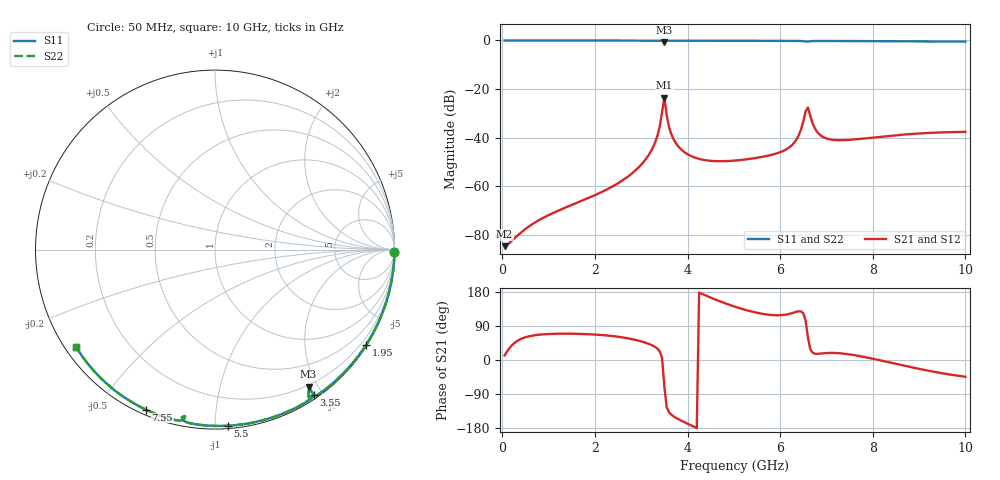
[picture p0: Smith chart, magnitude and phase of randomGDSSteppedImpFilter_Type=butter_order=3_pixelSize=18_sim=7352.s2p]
! freq	dB(S11)	phase(S11)	dB(S12)	phase(S12)
!  dB(S21)	phase(S21)	dB(S22)	phase(S22)
!S-par simulation data
#  GHz  S  DB  R 50
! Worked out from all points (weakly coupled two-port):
!   200 points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, 50 MHz to 10 GHz, reference 50 ohm
!   highest |S21| = -23.44 dB at 3.5 GHz (marker M1); lowest = -84.5 dB at 50 MHz (marker M2)
!   lowest |S11| = -0.7 dB at 3.5 GHz (marker M3), VSWR 25.71, Z = 8.87 - j94 ohm
!   |S11| at or under -10 dB: nowhere
!   |S22| runs from -0.7 to 0.0 dB; largest |S21 - S12| = 0
!   S11 on the Smith chart (normalised r, x): 50 MHz: open; 1.95 GHz: 0.03, -3.46; 3.55 GHz: 0.05, -1.89; 5.5 GHz: 0.02, -1.07; 7.55 GHz: 0.02, -0.66; 10 GHz: 0.03, -0.32
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0.05  -0.00 -0.8  -84.53 12.1  -84.53 12.1  -0.00 -0.8
0.35  -0.00 -5.9  -79.82 52.3  -79.82 52.3  -0.00 -5.9
1.75  -0.04 -29.0  -65.62 68.6  -65.62 68.6  -0.04 -29.0
1.95  -0.04 -32.3  -63.99 67.5  -63.99 67.5  -0.04 -32.3
2.95  -0.06 -48.3  -52.05 50.8  -52.05 50.8  -0.06 -48.3
3.25  -0.07 -53.2  -44.06 37.9  -44.06 37.9  -0.07 -53.2
3.4  -0.11 -56.1  -35.41 23.0  -35.41 23.0  -0.11 -56.1
3.5  -0.68 -55.7  -23.44 -70.4  -23.44 -70.4  -0.67 -55.7
3.55  -0.18 -55.9  -30.79 -124.7  -30.79 -124.7  -0.18 -55.9
3.7  -0.09 -59.2  -40.64 -148.8  -40.64 -148.8  -0.09 -59.2
3.95  -0.09 -63.2  -46.14 -165.2  -46.14 -165.2  -0.09 -63.2
4.4  -0.10 -70.0  -49.25 169.8  -49.25 169.8  -0.10 -70.0
5.05  -0.12 -79.5  -49.31 139.6  -49.31 139.6  -0.12 -79.5
5.5  -0.14 -85.9  -48.21 124.7  -48.21 124.7  -0.14 -85.9
6.25  -0.18 -96.5  -43.11 123.4  -43.11 123.4  -0.18 -96.5
6.4  -0.21 -98.8  -39.02 128.6  -39.02 128.6  -0.21 -98.8
6.6  -0.51 -100.2  -27.54 59.1  -27.54 59.1  -0.51 -100.2
6.7  -0.25 -101.4  -34.01 19.4  -34.01 19.4  -0.25 -101.4
6.95  -0.22 -105.3  -39.90 17.9  -39.90 17.9  -0.22 -105.3
7.55  -0.25 -113.4  -40.76 13.8  -40.76 13.8  -0.25 -113.4
8.35  -0.32 -123.8  -39.23 -6.0  -39.23 -6.0  -0.32 -123.8
10  -0.49 -144.9  -37.57 -44.2  -37.57 -44.2  -0.49 -144.9
